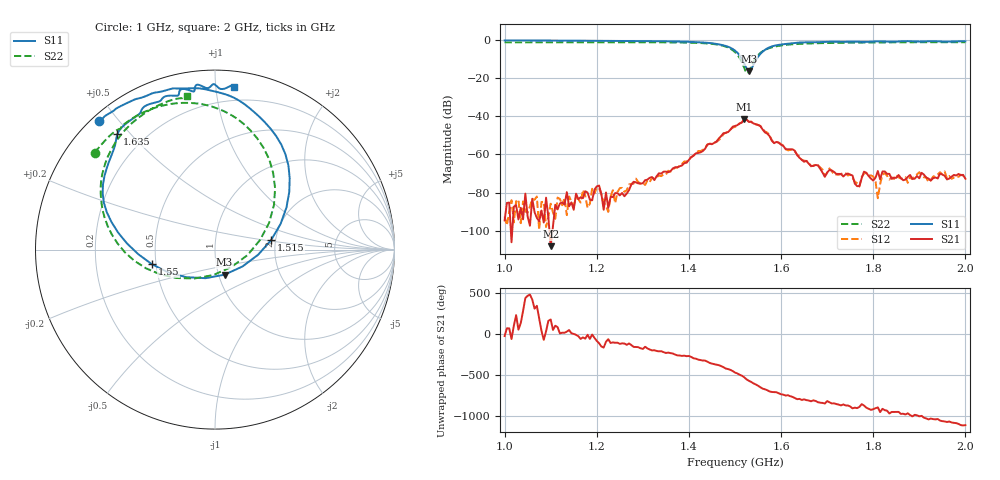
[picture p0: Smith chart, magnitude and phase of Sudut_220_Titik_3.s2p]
# Hz S RI R 50
! CMT, C1220, 16058040, 17.2.0/1
! Date: 14/08/2018 12:39:56
! Data: Format (Calibration Info)
! Freq  S11: Re/Im (F2)  S21: Re/Im (F2)  S12: Re/Im (F2)  S22: Re/Im (F2)
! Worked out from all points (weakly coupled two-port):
!   201 points, 1 GHz to 2 GHz, reference 50 ohm
!   highest |S21| = -41.69 dB at 1.52 GHz (marker M1); lowest = -108.0 dB at 1.1 GHz (marker M2)
!   lowest |S11| = -16.5 dB at 1.53 GHz (marker M3), VSWR 1.35, Z = 53.4 - j15.3 ohm
!   |S11| at or under -10 dB: 1.515 GHz to 1.547 GHz (31.96 MHz wide, 2.09 % of centre)
!   |S22| runs from -17.5 to -1.2 dB; largest |S21 - S12| = 0.00038
!   S11 on the Smith chart (normalised r, x): 1 GHz: 0.02, +0.44; 1.515 GHz: 1.89, +0.22; 1.55 GHz: 0.47, -0.09; 1.635 GHz: 0.10, +0.46; 2 GHz: 0.10, +1.12
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1e9  -0.6465 0.7149  1.73e-05 -7.03e-06  1.39e-05 1.92e-05  -0.6704 0.5404
1.1e9  -0.5528 0.7842  -3.98e-06 -1.81e-08  3.02e-05 4.19e-05  -0.6115 0.6089
1.17e9  -0.4748 0.824  5.58e-05 -4.52e-05  0.000117 1.48e-05  -0.5585 0.6579
1.265e9  -0.3363 0.8743  -6.13e-05 -7.23e-05  -3.76e-05 -0.000109  -0.4741 0.7224
1.335e9  -0.2131 0.8975  -0.000279 0.00016  -0.000245 0.000139  -0.3739 0.7752
1.45e9  0.1883 0.7914  0.00186 5.26e-06  0.00191 -0.000149  0.0173 0.7848
1.5e9  0.4138 0.3212  -0.00182 -0.00527  -0.00176 -0.00496  0.3349 0.3416
1.515e9  0.312 0.0519  -0.00577 -0.00372  -0.00577 -0.0039  0.2517 0.0545
1.52e9  0.2403 -0.0286  -0.00799 -0.00195  -0.00806 -0.00205  0.1812 -0.0306
1.53e9  0.0537 -0.1396  -0.00623 0.00342  -0.00633 0.00345  -0.00909 -0.1416
1.55e9  -0.3518 -0.0813  -2.44e-05 0.00593  -0.000209 0.00595  -0.3852 -0.1039
1.635e9  -0.5435 0.6435  0.000255 -0.00092  0.000292 -0.000939  -0.6098 0.4847
1.67e9  -0.4323 0.7468  1.33e-05 -0.000499  2.21e-05 -0.000512  -0.5629 0.583
1.755e9  -0.2763 0.854  -0.00028 3.13e-05  -0.000239 -1.56e-05  -0.4524 0.7135
1.765e9  -0.2489 0.8579  -0.000147 9.68e-06  -0.000176 -1.86e-06  -0.4407 0.7232
1.78e9  -0.2104 0.8573  -0.000314 -0.000166  -0.000293 -0.000111  -0.4219 0.7382
1.8e9  -0.1987 0.8809  -0.000199 5.9e-05  -0.000247 9.45e-05  -0.397 0.7555
1.81e9  -0.1886 0.8933  -0.000368 -3.27e-05  -5.85e-05 4.1e-05  -0.3856 0.7642
1.815e9  -0.1795 0.8954  -0.000138 0.000176  -0.000158 5.87e-05  -0.3797 0.7678
1.82e9  -0.1673 0.8942  -0.000349 7.7e-05  -0.000293 -3.63e-05  -0.3735 0.7712
1.835e9  -0.1283 0.882  -0.000109 0.000291  -0.000133 0.000175  -0.3562 0.782
2e9  0.1052 0.9074  0.000195 -0.000124  0.000244 -0.000142  -0.1562 0.8542
